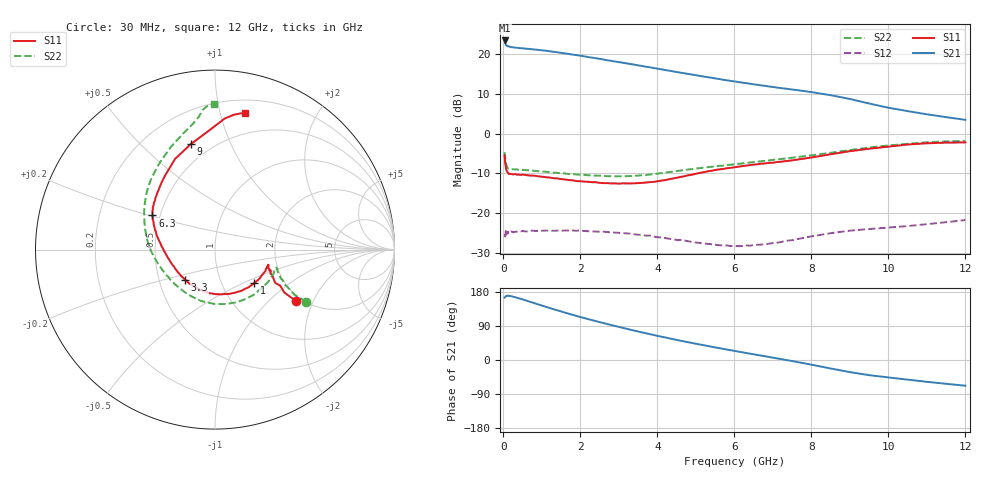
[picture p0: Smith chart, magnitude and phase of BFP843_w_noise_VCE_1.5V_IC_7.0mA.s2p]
! Infineon Technologies  Discrete & RF Semiconductors
! BFP843
! VCE =  1.5 V,  IC =  7.0 mA
! Common Emitter S-Parameters:  Aug 2013
# GHz  S  MA  R  50
!  f  S11  S21  S12  S22
! GHz  MAG  ANG  MAG  ANG  MAG  ANG  MAG  ANG
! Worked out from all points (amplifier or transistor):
!   103 points, 30 MHz to 12 GHz, reference 50 ohm
!   highest |S21| = 23.5 dB at 30 MHz (marker M1)
!   |S21| within 3 dB of that: start of sweep to 1.414 GHz
!   unconditionally stable (mu >= 1): 149.3 MHz to 10.98 GHz
!   at 400 MHz: K = 1.01, MAG = 22.4 dB, |S12| = -24.5 dB
!   at 3.7 GHz: K = 1.29, MAG = 18.1 dB, |S12| = -25.7 dB
!   at 12 GHz: K = 0.85, MSG = 12.6 dB, |S12| = -21.8 dB
!   lowest NFmin = 0.91 dB at 450 MHz
!   S11 on the Smith chart (normalised r, x): 30 MHz: 1.86, -1.48; 1 GHz: 1.42, -0.58; 3.3 GHz: 0.68, -0.24; 6.3 GHz: 0.45, +0.20; 9 GHz: 0.39, +0.72; 12 GHz: 0.31, +1.20
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0.03  0.5324 -32.4  14.98 164.6  0.0497 32.3  0.5857 -29.7
0.04  0.4556 -31.8  14.13 165.4  0.0524 24.9  0.5087 -29.6
0.05  0.4135 -28.9  13.63 167.6  0.0519 21.5  0.4569 -27.4
0.07  0.3565 -25.3  13.06 168.7  0.0537 15.4  0.4101 -24.0
0.13  0.3174 -19.4  12.66 169.7  0.0588 8.4  0.3644 -18.0
0.3  0.31 -16.5  12.14 165.8  0.0582 2.3  0.3551 -18.0
0.7  0.2971 -29.7  11.69 153.3  0.0602 -0.7  0.3458 -31.8
1  0.2875 -40.9  11.25 143.6  0.0599 -2.2  0.3334 -44.5
1.3  0.2753 -52.5  10.78 134.1  0.0598 -4.6  0.3234 -57.2
1.6  0.2651 -64.7  10.29 125.0  0.0604 -6.6  0.3155 -69.6
2.1  0.2494 -85.8  9.445 110.6  0.0596 -10.8  0.303 -90.2
2.6  0.2387 -106.0  8.621 97.4  0.0583 -13.4  0.2937 -109.4
3.3  0.2368 -134.5  7.55 79.9  0.0551 -17.3  0.2928 -136.0
4.1  0.2565 -164.1  6.48 61.6  0.0493 -20.8  0.3185 -161.7
5  0.3132 171.5  5.466 42.9  0.0425 -19.7  0.3645 178.3
6.1  0.3846 154.3  4.486 22.2  0.0384 -9.3  0.4171 160.1
6.3  0.3969 151.4  4.343 18.6  0.0392 -7.4  0.4277 157.0
7.4  0.4553 134.0  3.665 -1.0  0.0451 3.1  0.4934 140.8
8.5  0.5513 113.9  3.058 -22.4  0.0558 2.6  0.5747 122.3
9  0.6026 103.0  2.743 -32.0  0.0601 0.0  0.6229 113.2
10.5  0.7318 85.8  1.929 -51.8  0.0687 -5.3  0.7457 96.9
12  0.7778 77.5  1.497 -67.9  0.0817 -12.2  0.812 90.4
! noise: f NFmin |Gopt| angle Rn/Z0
0.45  0.91  0.12  7  0.01
0.9  0.92  0.13  16  0.03
1.5  0.95  0.12  26  0.09
1.9  0.97  0.1  39  0.18
2.4  1.01  0.09  49  0.25
3.5  1.08  0.06  61  0.28
5.5  1.24  0.14  -140  0.35
10  1.91  0.5  -70  0.42
